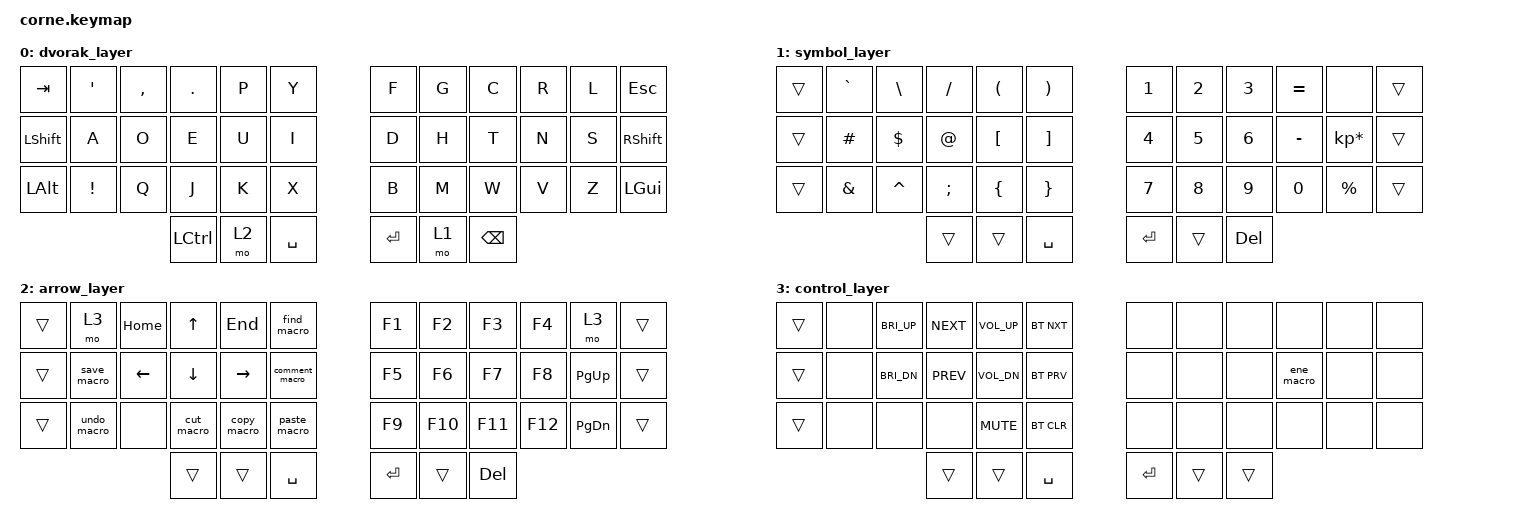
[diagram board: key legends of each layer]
/*
 * Copyright (c) 2020 The ZMK Contributors
 *
 * SPDX-License-Identifier: MIT
 */

#include <behaviors.dtsi>
#include <dt-bindings/zmk/bt.h>
#include <dt-bindings/zmk/keys.h>

/ {
    macros {
        copy_macro: copy_macro {
            compatible = "zmk,behavior-macro";
            label = "COPY_MACRO";
            #binding-cells = <0>;
            bindings = <&sk LCTRL &kp C>;
        };

        paste_macro: paste_macro {
            compatible = "zmk,behavior-macro";
            label = "PASTE_MACRO";
            #binding-cells = <0>;
            bindings = <&sk LCTRL &kp V>;
        };

        cut_macro: cut_macro {
            compatible = "zmk,behavior-macro";
            label = "CUT_MACRO";
            #binding-cells = <0>;
            bindings = <&sk LCTRL &kp X>;
        };

        find_macro: find_macro {
            compatible = "zmk,behavior-macro";
            label = "FIND_MACRO";
            #binding-cells = <0>;
            bindings = <&sk LEFT_CONTROL &kp F>;
        };

        save_macro: save_macro {
            compatible = "zmk,behavior-macro";
            label = "SAVE_MACRO";
            #binding-cells = <0>;
            bindings = <&sk LCTRL &kp S>;
        };

        undo_macro: undo_macro {
            compatible = "zmk,behavior-macro";
            label = "UNDO_MACRO";
            #binding-cells = <0>;
            bindings = <&sk LCTRL &kp Z>;
        };

        ene_macro: ene_macro {
            compatible = "zmk,behavior-macro";
            label = "ENE_MACRO";
            #binding-cells = <0>;
            bindings = <&kp LEFT_ALT &kp N0 &kp N2 &kp N4 &kp N1>;
        };

        comment_macro: comment_macro {
            compatible = "zmk,behavior-macro";
            label = "COMMENT_MACRO";
            #binding-cells = <0>;
            bindings = <&sk LCTRL &kp SLASH>;
        };
    };

    keymap {
        compatible = "zmk,keymap";

        dvorak_layer {
            // -----------------------------------------------------------------------------------------
            // |  TAB |  Q  |  W  |  E  |  R  |  T  |   |  Y  |  U   |  I  |  O  |  P  | BKSP |
            // | CTRL |  A  |  S  |  D  |  F  |  G  |   |  H  |  J   |  K  |  L  |  ;  |  '   |
            // | SHFT |  Z  |  X  |  C  |  V  |  B  |   |  N  |  M   |  ,  |  .  |  /  | ESC  |
            //                    | GUI | LWR | SPC |   | ENT | RSE  | ALT |

            bindings = <
&kp TAB       &kp SQT   &kp COMMA  &kp DOT    &kp P  &kp Y        &kp F    &kp G  &kp C     &kp R  &kp L  &kp ESC
&kp LSHIFT    &kp A     &kp O      &kp E      &kp U  &kp I        &kp D    &kp H  &kp T     &kp N  &kp S  &kp RIGHT_SHIFT
&kp LEFT_ALT  &kp EXCL  &kp Q      &kp J      &kp K  &kp X        &kp B    &kp M  &kp W     &kp V  &kp Z  &kp LEFT_GUI
                                   &kp LCTRL  &mo 2  &kp SPACE    &kp RET  &mo 1  &kp BSPC
            >;
        };

        symbol_layer {
            // -----------------------------------------------------------------------------------------
            // |  TAB |  !  |  @  |  #  |  $  |  %  |   |  ^  |  &  |  *  |  (  |  )  | BKSP |
            // | CTRL |     |     |     |     |     |   |  -  |  =  |  [  |  ]  |  \  |  `   |
            // | SHFT |     |     |     |     |     |   |  _  |  +  |  {  |  }  | "|" |  ~   |
            //                    | GUI |     | SPC |   | ENT |     | ALT |

            bindings = <
&trans  &kp GRAVE      &kp BACKSLASH  &kp SLASH  &kp LEFT_PARENTHESIS  &kp RIGHT_PARENTHESIS    &kp NUMBER_1  &kp NUMBER_2  &kp NUMBER_3  &kp EQUAL     &none            &trans
&trans  &kp HASH       &kp DOLLAR     &kp AT     &kp LEFT_BRACKET      &kp RIGHT_BRACKET        &kp NUMBER_4  &kp NUMBER_5  &kp NUMBER_6  &kp MINUS     &kp KP_MULTIPLY  &trans
&trans  &kp AMPERSAND  &kp CARET      &kp SEMI   &kp LEFT_BRACE        &kp RIGHT_BRACE          &kp NUMBER_7  &kp NUMBER_8  &kp NUMBER_9  &kp NUMBER_0  &kp PERCENT      &trans
                                      &trans     &trans                &kp SPACE                &kp RET       &trans        &kp DELETE
            >;
        };

        arrow_layer {
            // -----------------------------------------------------------------------------------------
            // |  TAB |  1  |  2  |  3  |  4  |  5  |   |  6  |  7  |  8  |  9  |  0  | BKSP |
            // | BTCLR| BT1 | BT2 | BT3 | BT4 | BT5 |   | LFT | DWN |  UP | RGT |     |      |
            // | SHFT |     |     |     |     |     |   |     |     |     |     |     |      |
            //                    | GUI |     | SPC |   | ENT |     | ALT |

            bindings = <
&trans  &mo 3        &kp HOME  &kp UP      &kp END      &find_macro       &kp F1   &kp F2   &kp F3      &kp F4   &mo 3      &trans
&trans  &save_macro  &kp LEFT  &kp DOWN    &kp RIGHT    &comment_macro    &kp F5   &kp F6   &kp F7      &kp F8   &kp PG_UP  &trans
&trans  &undo_macro  &none     &cut_macro  &copy_macro  &paste_macro      &kp F9   &kp F10  &kp F11     &kp F12  &kp PG_DN  &trans
                               &trans      &trans       &kp SPACE         &kp RET  &trans   &kp DELETE
            >;
        };

        control_layer {
            bindings = <
&trans  &none  &kp C_BRI_UP  &kp C_NEXT  &kp C_VOL_UP  &bt BT_NXT    &none    &none   &none   &none       &none  &none
&trans  &none  &kp C_BRI_DN  &kp C_PREV  &kp C_VOL_DN  &bt BT_PRV    &none    &none   &none   &ene_macro  &none  &none
&trans  &none  &none         &none       &kp C_MUTE    &bt BT_CLR    &none    &none   &none   &none       &none  &none
                             &trans      &trans        &kp SPACE     &kp RET  &trans  &trans
            >;
        };
    };
};
